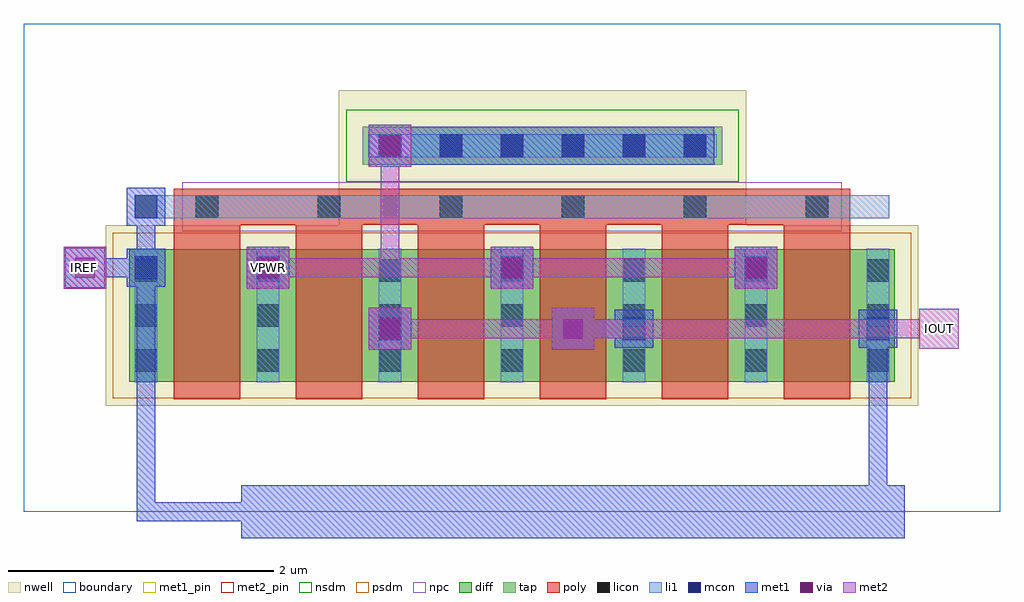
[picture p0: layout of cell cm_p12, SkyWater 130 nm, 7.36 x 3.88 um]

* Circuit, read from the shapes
.subckt cm_p12 IOUT IREF VPWR
XM1 VPWR IREF IREF VPWR sky130_fd_pr__pfet_01v8 w=1 l=0.5 m=2
XM2 IOUT IREF VPWR VPWR sky130_fd_pr__pfet_01v8 w=1 l=0.5 m=4
.ends

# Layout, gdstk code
import gdstk
lib = gdstk.Library(unit=1e-6, precision=1e-09)
def R(c, l, rs):  # rectangles x0, y0, x1, y1
    for r in rs: c.add(gdstk.rectangle(r[:2], r[2:], *l))
def A(c, l, x, y, w, h, nx, ny, dx, dy):  # array of equal rectangles
    R(c, l, [(x+i*dx, y+j*dy, x+i*dx+w, y+j*dy+h) for i in range(nx) for j in range(ny)])
nwell = (64, 20)
diff = (65, 20)
tap = (65, 44)
poly = (66, 20)
licon = (66, 44)
li1 = (67, 20)
mcon = (67, 44)
met1_pin = (68, 16)
met1 = (68, 20)
via = (68, 44)
met2_pin = (69, 16)
met2 = (69, 20)
nsdm = (93, 44)
psdm = (94, 20)
npc = (95, 20)
boundary = (235, 4)

cm_p12 = lib.new_cell('cm_p12')
R(cm_p12, nwell, [(0.615,0.8,6.745,2.16), (2.375,2.16,5.445,3.18)])
R(cm_p12, diff, [(0.795,0.98,6.565,1.98)])
R(cm_p12, tap, [(2.555,2.615,5.265,2.905)])
A(cm_p12, poly, 1.13, 0.85, 0.5, 1.45, 6, 1, 0.92, 0)
R(cm_p12, poly, [(1.13,2.165,6.23,2.435)])
A(cm_p12, licon, 0.835, 1.055, 0.17, 0.17, 7, 3, 0.92, 0.34)
A(cm_p12, licon, 1.295, 2.215, 0.17, 0.17, 6, 1, 0.92, 0)
A(cm_p12, licon, 2.675, 2.675, 0.17, 0.17, 6, 1, 0.46, 0)
A(cm_p12, li1, 0.835, 0.975, 0.17, 1.01, 7, 1, 0.92, 0)
R(cm_p12, li1, [(0.835,2.215,6.525,2.385), (2.595,2.675,5.225,2.845)])
A(cm_p12, mcon, 2.675, 1.295, 0.17, 0.17, 3, 1, 1.84, 0)
A(cm_p12, mcon, 1.755, 1.755, 0.17, 0.17, 3, 1, 1.84, 0)
A(cm_p12, mcon, 2.675, 2.675, 0.17, 0.17, 6, 1, 0.46, 0)
R(cm_p12, mcon, [(0.835,1.755,1.005,1.925), (0.835,2.215,1.005,2.385)])
R(cm_p12, met1_pin, [(1.695,1.695,1.985,1.985)])
A(cm_p12, met1, 2.615, 1.235, 0.29, 0.29, 3, 1, 1.84, 0)
A(cm_p12, met1, 1.68, 1.68, 0.32, 0.32, 3, 1, 1.84, 0)
A(cm_p12, met1, 1.695, 1.695, 0.29, 0.29, 3, 1, 1.84, 0)
R(cm_p12, met1, [(1.64,-0.2,6.64,0.2), (0.85,-0.07,0.99,1.91), (0.85,-0.07,1.91,0.07), (6.37,-0.07,6.51,1.45), (2.6,1.22,2.92,1.54), (3.98,1.22,4.3,1.54), (4.07,1.31,4.67,1.45), (0.3,1.68,0.62,2), (0.775,1.695,1.065,1.985), (0.39,1.77,0.99,1.91), (0.85,1.77,0.99,2.37), (0.775,2.155,1.065,2.445), (2.6,2.6,2.92,2.92), (2.615,2.615,5.205,2.905), (2.69,2.69,2.83,2.83)])
A(cm_p12, via, 1.765, 1.765, 0.15, 0.15, 3, 1, 1.84, 0)
R(cm_p12, via, [(2.685,1.305,2.835,1.455), (4.065,1.305,4.215,1.455), (0.385,1.765,0.535,1.915), (2.685,2.685,2.835,2.835)])
R(cm_p12, met2_pin, [(6.75,1.23,7.05,1.53), (0.31,1.69,0.61,1.99)])
A(cm_p12, met2, 1.68, 1.68, 0.32, 0.32, 3, 1, 1.84, 0)
R(cm_p12, met2, [(2.6,1.22,2.92,1.54), (3.98,1.22,4.3,1.54), (6.75,1.23,7.05,1.53), (2.69,1.31,4.21,1.45), (4.07,1.31,6.97,1.45), (6.83,1.31,6.97,1.45), (0.3,1.68,0.62,2), (0.31,1.69,0.61,1.99), (0.39,1.77,0.53,1.91), (1.77,1.77,2.83,1.91), (2.69,1.77,3.75,1.91), (2.69,1.77,2.83,2.83), (3.61,1.77,5.59,1.91), (2.6,2.6,2.92,2.92)])
R(cm_p12, nsdm, [(2.43,2.49,5.39,3.03)])
R(cm_p12, psdm, [(0.67,0.855,6.69,2.105)])
R(cm_p12, npc, [(1.195,2.115,6.165,2.485)])
R(cm_p12, boundary, [(0,0,7.36,3.68)])
cm_p12.add(gdstk.Label('VPWR', (1.84,1.84), layer=68, texttype=5))
cm_p12.add(gdstk.Label('IREF', (0.46,1.84), layer=69, texttype=5))
cm_p12.add(gdstk.Label('IOUT', (6.9,1.38), layer=69, texttype=5))
cm_p12.add(gdstk.Label('VPWR', (1.84,1.84), layer=68, texttype=16))
cm_p12.add(gdstk.Label('IREF', (0.46,1.84), layer=69, texttype=16))
cm_p12.add(gdstk.Label('IOUT', (6.9,1.38), layer=69, texttype=16))

lib.write_gds('cm_p12.gds')
